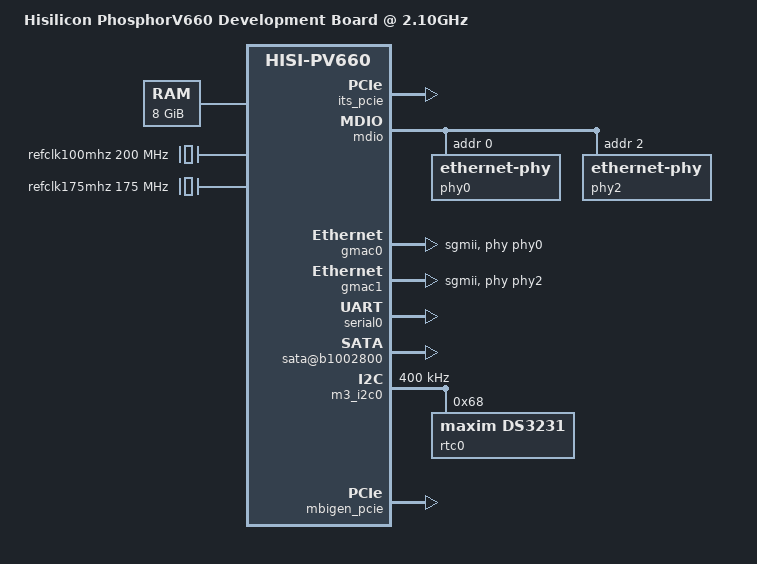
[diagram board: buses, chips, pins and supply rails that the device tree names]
/**
 * dts file for Hisilicon PhosphorV660 Board
 *
 * Copyright (C) 2014, Hisilicon Ltd.
 *
 * This program is free software; you can redistribute it and/or modify
 * it under the terms of the GNU General Public License version 2 as
 * publishhed by the Free Software Foundation.
 *
 */

/dts-v1/;

/ {
	#address-cells = <2>;
	#size-cells = <2>;
	model = "Hisilicon PhosphorV660 Development Board @ 2.10GHz";
	compatible = "hisilicon,hip05-D02", "hisilicon,hisi-pv660";
	interrupt-parent = <&gic0>;

	psci {
		compatible = "arm,psci-0.2";
		method = "smc";
	};

	cpus {
		#address-cells = <1>;
		#size-cells = <0>;

		cpu@20000 {
			device_type = "cpu";
			compatible = "arm,armv8";
			reg = <0x20000>;
			enable-method = "psci";
		};

		cpu@20001 {
			device_type = "cpu";
			compatible = "arm,armv8";
			reg = <0x20001>;
			enable-method = "psci";
		};

		cpu@20002 {
			device_type = "cpu";
			compatible = "arm,armv8";
			reg = <0x20002>;
			enable-method = "psci";
		};

		cpu@20003 {
			device_type = "cpu";
			compatible = "arm,armv8";
			reg = <0x20003>;
			enable-method = "psci";
		};

		cpu@20100 {
			device_type = "cpu";
			compatible = "arm,armv8";
			reg = <0x20100>;
			enable-method = "psci";
		};

		cpu@20101 {
			device_type = "cpu";
			compatible = "arm,armv8";
			reg = <0x20101>;
			enable-method = "psci";
		};

		cpu@20102 {
			device_type = "cpu";
			compatible = "arm,armv8";
			reg = <0x20102>;
			enable-method = "psci";
		};

		cpu@20103 {
			device_type = "cpu";
			compatible = "arm,armv8";
			reg = <0x20103>;
			enable-method = "psci";
		};

		cpu@20200 {
			device_type = "cpu";
			compatible = "arm,armv8";
			reg = <0x20200>;
			enable-method = "psci";
		};

		cpu@20201 {
			device_type = "cpu";
			compatible = "arm,armv8";
			reg = <0x20201>;
			enable-method = "psci";
		};

		cpu@20202 {
			device_type = "cpu";
			compatible = "arm,armv8";
			reg = <0x20202>;
			enable-method = "psci";
		};

		cpu@20203 {
			device_type = "cpu";
			compatible = "arm,armv8";
			reg = <0x20203>;
			enable-method = "psci";
		};

		cpu@20300 {
			device_type = "cpu";
			compatible = "arm,armv8";
			reg = <0x20300>;
			enable-method = "psci";
		};

		cpu@20301 {
			device_type = "cpu";
			compatible = "arm,armv8";
			reg = <0x20301>;
			enable-method = "psci";
		};

		cpu@20302 {
			device_type = "cpu";
			compatible = "arm,armv8";
			reg = <0x20302>;
			enable-method = "psci";
		};

		cpu@20303 {
			device_type = "cpu";
			compatible = "arm,armv8";
			reg = <0x20303>;
			enable-method = "psci";
		};
	};

	memory@0 {
		device_type = "memory";
		reg = <0x0 0x00000000 0x0 0x80000000>,
		      <0x10 0x80000000 0x1 0x80000000>;
	};

	gic0: interrupt-controller@8d000000 {
		compatible = "hisilicon,gic-v3";
		#interrupt-cells = <3>;
		#address-cells = <2>;
		#size-cells = <2>;
		ranges;
		interrupt-controller;
		#redistributor-regions = <1>;
		redistributor-stride = <0x0 0x30000>;
		reg = <0x0 0x8d000000 0x0 0x10000>,	/* GICD */
		      <0x0 0x8d100000 0x0 0x300000>,	/* GICR c*/
		      <0x0 0xfe000000 0x0 0x10000>,	/* GICC */
		      <0x0 0xfe010000 0x0 0x10000>,     /* GICH */
		      <0x0 0xfe020000 0x0 0x10000>;     /* GICV */
		interrupts = <1 9 0xff04>;

		its_pc: interrupt-controller@8c000000 {
			compatible = "arm,gic-v3-its";
			msi-controller;
			reg = <0x0 0x8c000000 0x0 0x1000000>;
		};

		its_dsa: interrupt-controller@c6000000 {
			compatible = "arm,gic-v3-its";
			msi-controller;
			reg = <0x0 0xc6000000 0x0 0x1000000>;
		};

		algsub: its-alg@d3000000 {
			compatible = "arm,gic-v3-its";
			msi-controller;
			reg = <0x0 0xd3000000 0x0 0x1000000>;
		};

		its_m3: interrupt-controller@a3000000 {
			compatible = "arm,gic-v3-its";
			msi-controller;
			reg = <0x0 0xa3000000 0x0 0x1000000>;
		};

		its_pcie: interrupt-controller@b7000000 {
			compatible = "arm,gic-v3-its";
			msi-controller;
			reg = <0x0 0xb7000000 0x0 0x1000000>;
		};
	};

	smmu_peri_c {
		compatible = "hisilicon,smmu-v1";
		reg = <0x0 0x80040000 0x0 0x1000>;
		#global-interrupts = <1>;
		interrupts = <0 316 4>,
			     <0 316 4>;
		smmu-cb-memtype = <0 1>;
		smmu-bypass-vmid = <0xff>;
	};

	smmu_dsa {
		compatible = "hisilicon,smmu-v1";
		interrupt-parent = <&mbigen_m3>;
		reg = <0x0 0xc0040000 0x0 0x1000>;
		#global-interrupts = <1>;
		interrupts = <69 4>,
			     <69 4>;
		smmu-cb-memtype = <0 1>;
		smmu-bypass-vmid = <0xff>;
	};

	smmu_m3 {
		compatible = "hisilicon,smmu-v1";
		interrupt-parent = <&mbigen_m3>;
		reg = <0x0 0xa0040000 0x0 0x1000>;
		#global-interrupts = <1>;
		interrupts = <65 1>,
			     <65 1>;
		smmu-cb-memtype = <0 1>;
		smmu-bypass-vmid = <0xff>;
	};

	smmu_pcie {
		compatible = "hisilicon,smmu-v1";
		interrupt-parent = <&mbigen_m3>;
		reg = <0x0 0xb0040000 0x0 0x1000>;
		#global-interrupts = <1>;
		interrupts = <71 1>,
			     <71 1>;
		smmu-cb-memtype = <0 1>,
				  <1 2>;
		smmu-bypass-vmid = <0xff>;
	};


	smmu_alg {
		compatible = "hisilicon,smmu-v1";
		interrupt-parent = <&mbigen_m3>;
		reg = <0x0 0xd0040000 0x0 0x1000>;
		#global-interrupts = <1>;
		interrupts = <67 1>,
			     <67 1>;
		smmu-cb-memtype = <0 1>;
		smmu-bypass-vmid = <0xff>;
	};

	timer {
		compatible = "arm,armv8-timer";
		interrupts = <1 13 0xff08>,
			     <1 14 0xff08>,
			     <1 11 0xff08>,
			     <1 10 0xff08>;
		clock-frequency = <50000000>;
	};

	sas: sas@b1000000 {
		compatible = "pv660, sas_controller";
		reg = <0 0xb1000000 0 0x10000>,
		      <0 0xc1000000 0 0x10000>;
		dma-coherent;
	};

	mdio {
		compatible = "hisilicon, hip05-mdio";
		reg = <0x0 0x803c0000 0x0 0x1000>;
		#address-cells = <0x1>;
		#size-cells = <0x0>;

		phy0: ethernet-phy@0 {
			compatile = "ethernet-phy-ieee802.3-c22";
			reg = <0x0>;
			max-speed = <100>;
		};

		phy2: ethernet-phy@2 {
			compatile = "ethernet-phy-ieee802.3-c22";
			reg = <0x2>;
			max-speed = <100>;
		};
	};

	ppe0: ppe@c2000000 {
		compatible = "hisilicon, hip05-ppe", "syscon";
		reg = <0 0xc2000000 0 0x1000>;
	};

	ge0: ge@c2001000 {
		compatible = "hisilicon, hip05-ge", "syscon";
		reg = <0 0xc2001000 0 0x1000>;
	};

	ppe1: ppe@c2100000 {
		compatible = "hisilicon, hip05-ppe", "syscon";
		reg = <0 0xc2100000 0 0x1000>;
	};

	ge1: ge@c2101000 {
		compatible = "hisilicon, hip05-ge", "syscon";
		reg = <0 0xc2101000 0 0x1000>;
	};

	gmac0: ethernet@c2000000 {
		compatible = "hisilicon, hip05-mac";
		#address-cells = <1>;
		#size-cells = <0>;
		interrupt-parent = <&mbigen_dsa>;
		reg = <0 0xc2080000 0 0x20000>,
		      <0 0xc0000000 0 0x1000>;
		interrupts = <15 1>, /* rx irq */
			     <14 1>; /* tx irq */
		phy-mode = "sgmii";
		mac-address = [11 11 11 11 11 11];
		phy-handle = <&phy0>;
		ppe-handle = <&ppe0 0>;
		ge-handle = <&ge0 100 1>;
		dma-coherent;
	};

	gmac1: ethernet@c2100000 {
		compatible = "hisilicon, hip05-mac";
		#address-cells = <1>;
		#size-cells = <0>;
		interrupt-parent = <&mbigen_dsa>;
		reg = <0 0xc2180000 0 0x30000>,
		      <0 0xc0000000 0 0x1000>;
			interrupts = <21 1>, /* rx irq */
				     <20 1>; /* tx irq */
		phy-mode = "sgmii";
		mac-address = [11 11 11 11 11 11];
		phy-handle = <&phy2>;
		dma-coherent;
		ppe-handle = <&ppe1 0>;
		ge-handle = <&ge1 100 1>;
	};

	pmu {
		compatible = "arm,armv8-pmuv3";
		interrupts = <1 7 4>;
	};

	hipv660-cpufreq {
		compatible = "hisilicon,hip-cpufreq";
		reg = <0x0 0x80010000 0x0 0x10000>,
		      <0x0 0xe0000000 0x0 0x10000>;
	};

	peripherals {
		compatible = "simple-bus";
		#address-cells = <1>;
		#size-cells = <1>;
		ranges = <0x0 0x00000000 0x0 0xffffffff>;

		refclk100mhz: refclk100mhz {
			compatible = "fixed-clock";
			#clock-cells = <0>;
			clock-frequency = <200000000>;
		};

		refclk175mhz: refclk175mhz {
			compatible = "fixed-clock";
			#clock-cells = <0>;
			clock-frequency = <175000000>;
		};

		serial0: uart@80300000 {
			compatible = "snps,dw-apb-uart";
			reg = <0x80300000 0x10000>;
			interrupts = <0 317 4>;
			clocks = <&refclk100mhz>;
			clock-names = "apb_pclk";
			reg-shift = <2>;
		};

		cpld@98000000 {
			compatible = "hisilicon,p660-cpld";
			reg = <0x98000000 0x100>;
			rb-wp-key-val = /bits/ 8 <0xd 0x8>;
			reboot-key-val = /bits/ 8 <0xe 0x8>;
		};

		sata@b1002800 {
			compatible = "hisilicon,p660-ahci";
			interrupt-parent = <&mbigen_pcie>;
			reg = <0xb1002800 0x10000>,
			      <0xb1000000 0x10000>;
			interrupts = <382 4>;
			dma-coherent;
		};


		m3_i2c0: i2c@a00e0000 {
			#address-cells = <1>;
			#size-cells = <0>;
			compatible = "snps,designware-i2c";
			interrupt-parent = <&mbigen_m3>;
			reg = <0xa00e0000 0x10000>;
			interrupts = <8 1>;
			clocks = <&refclk175mhz>;
			clock-frequency = <400000>;

			rtc0: ds3231@68 {
				compatible = "maxim,ds3231";
				reg = <0x68>;
			};

		};

		mbigen_pc: interrupt-controller@6c030000 {
			compatible = "hisilicon,mbi-gen";
			msi-parent = <&its_pc>;
			interrupt-controller;
			#interrupt-cells = <2>;
			reg = <0x6c030000 0x10000>;
		};

		mbigen_dsa: interrupt-controller@c6030000 {
			compatible = "hisilicon,mbi-gen";
			msi-parent = <&its_dsa>;
			interrupt-controller;
			#interrupt-cells = <2>;
			reg = <0xc6030000 0x10000>;
		};
		mbigen_m3: interrupt-controller@a3030000 {
			compatible = "hisilicon,mbi-gen";
			msi-parent = <&its_m3>;
			interrupt-controller;
			#interrupt-cells = <2>;
			reg = <0xa3030000 0x10000>;
		};

		mbigen_pcie: interrupt-controller@b7030000 {
			compatible = "hisilicon,mbi-gen";
			msi-parent = <&its_pcie>;
			interrupt-controller;
			#interrupt-cells = <2>;
			reg = <0xb7030000 0x10000>;
		};



/*
		wdt0@801e0000 {
			compatible = "arm,sp805", "arm,primecell";
			arm,primecell-periphid = <0x00141805>;
			reg = <0x801e0000 0x10000>;
			interrupts = <0 128 4>;
			clocks = <&refclk100mhz>;
			clock-names = "apb_pclk";
		};
*/
	};

	chosen {
		/* bootargs = "console=ttyS0,115200 earlycon=uart8250,mmio32,0x80300000 initrd=0x7000000,0x12c00000 root=/dev/nfs nfsroot=192.168.10.67:/opt/nfsroot/ rw ip=192.168.10.171 "; */
		bootargs = "rdinit=/init console=ttyS0,115200 earlycon=uart8250,mmio32,0x80300000 pci=pcie_bus_perf";
		linux,initrd-start = <0x7000000>;
		linux,initrd-end = <0x20000000>;

	};
};
